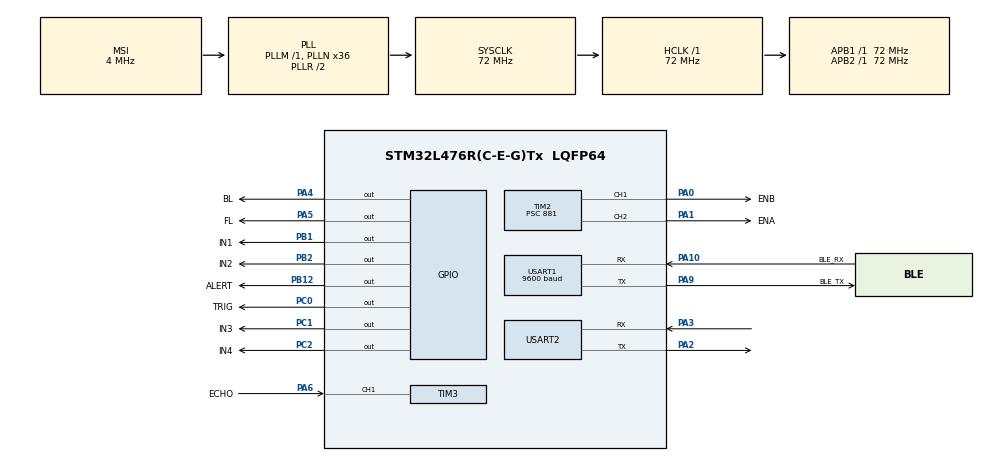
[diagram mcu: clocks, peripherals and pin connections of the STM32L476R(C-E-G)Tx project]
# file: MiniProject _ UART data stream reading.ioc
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Mcu.Family=STM32L4
Mcu.Name=STM32L476R(C-E-G)Tx
Mcu.Package=LQFP64
NVIC.PriorityGroup=NVIC_PRIORITYGROUP_4
NVIC.TIM3_IRQn=true\:0\:0\:false\:false\:true\:true\:true\:true
NVIC.USART1_IRQn=true\:0\:0\:false\:false\:true\:true\:true\:true
NVIC.USART2_IRQn=true\:0\:0\:false\:false\:true\:true\:true\:true
PA0.GPIO_Label=ENB
PA0.Signal=S_TIM2_CH1
PA1.GPIO_Label=ENA
PA1.Signal=S_TIM2_CH2
PA10.GPIO_Label=BLE_RX
PA10.Mode=Asynchronous
PA10.Signal=USART1_RX
PA2.Mode=Asynchronous
PA2.Signal=USART2_TX
PA3.Mode=Asynchronous
PA3.Signal=USART2_RX
PA4.GPIO_Label=BL
PA4.Signal=GPIO_Output
PA5.GPIO_Label=FL
PA5.Signal=GPIO_Output
PA6.GPIO_Label=ECHO
PA6.Signal=S_TIM3_CH1
PA9.GPIO_Label=BLE_TX
PA9.Mode=Asynchronous
PA9.Signal=USART1_TX
PB1.GPIO_Label=IN1
PB1.Signal=GPIO_Output
PB12.GPIO_Label=ALERT
PB12.Signal=GPIO_Output
PB2.GPIO_Label=IN2
PB2.Signal=GPIO_Output
PC0.GPIO_Label=TRIG
PC0.Signal=GPIO_Output
PC1.GPIO_Label=IN3
PC1.Signal=GPIO_Output
PC2.GPIO_Label=IN4
PC2.Signal=GPIO_Output
ProjectManager.HeapSize=0x200
ProjectManager.StackSize=0x400
ProjectManager.TargetToolchain=STM32CubeIDE
RCC.AHBFreq_Value=72000000
RCC.APB1Freq_Value=72000000
RCC.APB1TimFreq_Value=72000000
RCC.APB2Freq_Value=72000000
RCC.APB2TimFreq_Value=72000000
RCC.CortexFreq_Value=72000000
RCC.HCLKFreq_Value=72000000
RCC.HSE_VALUE=8000000
RCC.HSI_VALUE=16000000
RCC.LSE_VALUE=32768
RCC.MSI_VALUE=4000000
RCC.PLLN=36
RCC.SYSCLKFreq_VALUE=72000000
RCC.SYSCLKSource=RCC_SYSCLKSOURCE_PLLCLK
RCC.VCOOutputFreq_Value=144000000
SH.S_TIM2_CH1.0=TIM2_CH1,PWM Generation1 CH1
SH.S_TIM2_CH2.0=TIM2_CH2,PWM Generation2 CH2
SH.S_TIM3_CH1.0=TIM3_CH1,Input_Capture1_from_TI1
TIM2.Channel-PWM\ Generation1\ CH1=TIM_CHANNEL_1
TIM2.Channel-PWM\ Generation2\ CH2=TIM_CHANNEL_2
TIM2.Period=255
TIM2.Prescaler=881 
TIM3.Channel-Input_Capture1_from_TI1=TIM_CHANNEL_1
TIM3.Prescaler=72-1
TIM6.Prescaler=72-1
USART1.BaudRate=9600
USART1.VirtualMode-Asynchronous=VM_ASYNC
USART2.VirtualMode-Asynchronous=VM_ASYNC
VP_TIM6_VS_ClockSourceINT.Mode=Enable_Timer
board=custom

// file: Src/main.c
/* USER CODE BEGIN Header */
/**
  ******************************************************************************
  * @file           : main.c
  * @brief          : Main program body
  ******************************************************************************
  * @attention
  *
  * Copyright (c) 2023 STMicroelectronics.
  * All rights reserved.
  *
  * This software is licensed under terms that can be found in the LICENSE file
  * in the root directory of this software component.
  * If no LICENSE file comes with this software, it is provided AS-IS.
  *
  ******************************************************************************
  */
/* USER CODE END Header */
#include "main.h"

/* USER CODE BEGIN PD */

#define Buffer_len 2 // Received UART message have a maximum length of 3 (when setting servo-motors speed).
#define ARR_value 255 // TIM2 Auto Reload Register set to . (2^16)

#define FL GPIO_PIN_5 // GPIOA_PIN5 Front Light
#define BL GPIO_PIN_4 // GPIOA_PIN4 Back Light

// Right motor
#define RM_GPIO GPIOC
#define enB TIM_CHANNEL_1
#define in3 GPIO_PIN_1
#define in4 GPIO_PIN_2

// Left motor
#define LM_GPIO GPIOB
#define enA TIM_CHANNEL_2
#define in1 GPIO_PIN_1
#define in2 GPIO_PIN_2

#define Turning_Speed1 60
#define Turning_Speed2 100 // Speed difference is set to 40 in order to perform a smooth turn.

#define TRIG_PIN GPIO_PIN_0
#define TRIG_PORT GPIOC
#define ECHO TIM_CHANNEL_1

/* USER CODE END PD */

TIM_HandleTypeDef htim2;
TIM_HandleTypeDef htim3;
TIM_HandleTypeDef htim6;

UART_HandleTypeDef huart1;
UART_HandleTypeDef huart2;

/* USER CODE BEGIN PV */

uint16_t CNT_Ticks = 0;

uint8_t RX_BUFFER[Buffer_len]={0};
int RX_index;
uint16_t x_speed = 0;
uint32_t x_OCC;
uint32_t IC_Val1 = 0;
uint32_t IC_Val2 = 0;
uint32_t Difference = 0;
uint8_t Is_First_Captured = 0;  // is the first value captured ?
float Distance  = 0.0;
char MSG[35] = {0};
/* USER CODE END PV */

void SystemClock_Config(void);
static void MX_GPIO_Init(void);
static void MX_TIM2_Init(void);
static void MX_TIM3_Init(void);
static void MX_USART2_UART_Init(void);
static void MX_USART1_UART_Init(void);
static void MX_TIM6_Init(void);
/* USER CODE BEGIN PFP */

void HAL_UART_RxCpltCallback(UART_HandleTypeDef *); // Callback function: We are reading from UART in Interrupt mode.
void HAL_TIM_IC_CaptureCallback(TIM_HandleTypeDef *htim);

uint32_t MAP(uint32_t au32_IN, uint32_t au32_INmax, uint32_t au32_OUTmax); // This is a modified version from DeepBLue Math Library (I have considered a 0 min for both input and output intervals).
void delay_us(uint16_t delay);

void HCSR04_Read(void);
void Front_Light_Toggle();
void Back_Light_Toggle();
void Turn_Left();
void Turn_Right();
void Stop();
float Range_to_obstacle(uint8_t); // Consider transforming this function on a Alert function (cause with the HCSR04_Read direct reading capabilities it becomes useless).
void ServoA_Speed_Calibration(uint16_t);
void ServoB_Speed_Calibration(uint16_t);
/* USER CODE END PFP */

int main(void)
{

  /* MCU Configuration--------------------------------------------------------*/

  /* Reset of all peripherals, Initializes the Flash interface and the Systick. */
  HAL_Init();

  /* Configure the system clock */
  SystemClock_Config();

  /* Initialize all configured peripherals */
  MX_GPIO_Init();
  MX_TIM2_Init();
  MX_TIM3_Init();
  MX_USART2_UART_Init();
  MX_USART1_UART_Init();
  MX_TIM6_Init();
  /* USER CODE BEGIN 2 */

  HAL_TIM_Base_Start(&htim6);

  //Start the PWM mode on the channel of timer1
  HAL_TIM_PWM_Start(&htim2, enA);

  //Start the PWM mode on the channel of timer2
  HAL_TIM_PWM_Start(&htim2, enB);

  //Start timer 3 in input capture mode
  HAL_TIM_IC_Start_IT(&htim3, ECHO);

  //Setup the trigger for the first reading from the UART.
  HAL_UART_Receive_IT(&huart1, RX_BUFFER, Buffer_len);

  //Initialize Right motors direction to forward
  HAL_GPIO_WritePin(RM_GPIO, in3, GPIO_PIN_SET);
  HAL_GPIO_WritePin(RM_GPIO, in4, GPIO_PIN_RESET);

  //Initialize Left motors direction to forward
  HAL_GPIO_WritePin(LM_GPIO, in1, GPIO_PIN_SET);
  HAL_GPIO_WritePin(LM_GPIO, in2, GPIO_PIN_RESET);

  /* USER CODE END 2 */

  /* Infinite loop */
  while (1)
  {

    /* USER CODE BEGIN 3 */

	HCSR04_Read();

	sprintf(MSG, "%f cm\r\n", Distance);

	HAL_UART_Transmit(&huart2, MSG, sizeof(MSG), 100);

	HAL_Delay(20);

	/*
	switch (RX_BUFFER[0]){

	      case 'M':
	    	  Front_Light_Toggle();
	    	  sprintf(MSG,"Command M: Front_Light_Toggle() \r\n");
	    	  HAL_UART_Transmit(&huart2, MSG, sizeof(MSG), 50);
			  break;

	      case 'N':
	    	  sprintf(MSG,"Command N: Back_Light_Toggle() \r\n");
	    	  HAL_UART_Transmit(&huart2, MSG, sizeof(MSG), 50);
	    	  Back_Light_Toggle();
	    	  break;

	      case 'L':
	    	  Turn_Left();
	    	  break;

	      case 'R':
	    	  Turn_Right();
	    	  break;

	      case 'U':
	    	  Forword();
	    	  break;

	      case 'D':
	    	  Backword();
	    	  break;

	      case 'E':

	    	break;

	      case 'C':

	        break;

	      case 'Z':

	        break;

	      default :
	    	  //Print a message on the LCD to mention no action is specified.
	    	break;
	    }
	*/

  }
  /* USER CODE END 3 */
}

void SystemClock_Config(void)
{
  RCC_OscInitTypeDef RCC_OscInitStruct = {0};
  RCC_ClkInitTypeDef RCC_ClkInitStruct = {0};

  /** Configure the main internal regulator output voltage
  */
  if (HAL_PWREx_ControlVoltageScaling(PWR_REGULATOR_VOLTAGE_SCALE1) != HAL_OK)
  {
    Error_Handler();
  }

  /** Initializes the RCC Oscillators according to the specified parameters
  * in the RCC_OscInitTypeDef structure.
  */
  RCC_OscInitStruct.OscillatorType = RCC_OSCILLATORTYPE_MSI;
  RCC_OscInitStruct.MSIState = RCC_MSI_ON;
  RCC_OscInitStruct.MSICalibrationValue = 0;
  RCC_OscInitStruct.MSIClockRange = RCC_MSIRANGE_6;
  RCC_OscInitStruct.PLL.PLLState = RCC_PLL_ON;
  RCC_OscInitStruct.PLL.PLLSource = RCC_PLLSOURCE_MSI;
  RCC_OscInitStruct.PLL.PLLM = 1;
  RCC_OscInitStruct.PLL.PLLN = 36;
  RCC_OscInitStruct.PLL.PLLP = RCC_PLLP_DIV7;
  RCC_OscInitStruct.PLL.PLLQ = RCC_PLLQ_DIV2;
  RCC_OscInitStruct.PLL.PLLR = RCC_PLLR_DIV2;
  if (HAL_RCC_OscConfig(&RCC_OscInitStruct) != HAL_OK)
  {
    Error_Handler();
  }

  /** Initializes the CPU, AHB and APB buses clocks
  */
  RCC_ClkInitStruct.ClockType = RCC_CLOCKTYPE_HCLK|RCC_CLOCKTYPE_SYSCLK
                              |RCC_CLOCKTYPE_PCLK1|RCC_CLOCKTYPE_PCLK2;
  RCC_ClkInitStruct.SYSCLKSource = RCC_SYSCLKSOURCE_PLLCLK;
  RCC_ClkInitStruct.AHBCLKDivider = RCC_SYSCLK_DIV1;
  RCC_ClkInitStruct.APB1CLKDivider = RCC_HCLK_DIV1;
  RCC_ClkInitStruct.APB2CLKDivider = RCC_HCLK_DIV1;

  if (HAL_RCC_ClockConfig(&RCC_ClkInitStruct, FLASH_LATENCY_4) != HAL_OK)
  {
    Error_Handler();
  }
}

static void MX_TIM2_Init(void)
{

  TIM_MasterConfigTypeDef sMasterConfig = {0};
  TIM_OC_InitTypeDef sConfigOC = {0};

  htim2.Instance = TIM2;
  htim2.Init.Prescaler = 881 ;
  htim2.Init.CounterMode = TIM_COUNTERMODE_UP;
  htim2.Init.Period = 255;
  htim2.Init.ClockDivision = TIM_CLOCKDIVISION_DIV1;
  htim2.Init.AutoReloadPreload = TIM_AUTORELOAD_PRELOAD_DISABLE;
  if (HAL_TIM_PWM_Init(&htim2) != HAL_OK)
  {
    Error_Handler();
  }
  sMasterConfig.MasterOutputTrigger = TIM_TRGO_RESET;
  sMasterConfig.MasterSlaveMode = TIM_MASTERSLAVEMODE_DISABLE;
  if (HAL_TIMEx_MasterConfigSynchronization(&htim2, &sMasterConfig) != HAL_OK)
  {
    Error_Handler();
  }
  sConfigOC.OCMode = TIM_OCMODE_PWM1;
  sConfigOC.Pulse = 0;
  sConfigOC.OCPolarity = TIM_OCPOLARITY_HIGH;
  sConfigOC.OCFastMode = TIM_OCFAST_DISABLE;
  if (HAL_TIM_PWM_ConfigChannel(&htim2, &sConfigOC, TIM_CHANNEL_1) != HAL_OK)
  {
    Error_Handler();
  }
  if (HAL_TIM_PWM_ConfigChannel(&htim2, &sConfigOC, TIM_CHANNEL_2) != HAL_OK)
  {
    Error_Handler();
  }
  HAL_TIM_MspPostInit(&htim2);

}

static void MX_TIM3_Init(void)
{

  TIM_MasterConfigTypeDef sMasterConfig = {0};
  TIM_IC_InitTypeDef sConfigIC = {0};

  htim3.Instance = TIM3;
  htim3.Init.Prescaler = 72-1;
  htim3.Init.CounterMode = TIM_COUNTERMODE_UP;
  htim3.Init.Period = 65535;
  htim3.Init.ClockDivision = TIM_CLOCKDIVISION_DIV1;
  htim3.Init.AutoReloadPreload = TIM_AUTORELOAD_PRELOAD_DISABLE;
  if (HAL_TIM_IC_Init(&htim3) != HAL_OK)
  {
    Error_Handler();
  }
  sMasterConfig.MasterOutputTrigger = TIM_TRGO_RESET;
  sMasterConfig.MasterSlaveMode = TIM_MASTERSLAVEMODE_DISABLE;
  if (HAL_TIMEx_MasterConfigSynchronization(&htim3, &sMasterConfig) != HAL_OK)
  {
    Error_Handler();
  }
  sConfigIC.ICPolarity = TIM_INPUTCHANNELPOLARITY_RISING;
  sConfigIC.ICSelection = TIM_ICSELECTION_DIRECTTI;
  sConfigIC.ICPrescaler = TIM_ICPSC_DIV1;
  sConfigIC.ICFilter = 0;
  if (HAL_TIM_IC_ConfigChannel(&htim3, &sConfigIC, TIM_CHANNEL_1) != HAL_OK)
  {
    Error_Handler();
  }

}

static void MX_TIM6_Init(void)
{

  TIM_MasterConfigTypeDef sMasterConfig = {0};

  htim6.Instance = TIM6;
  htim6.Init.Prescaler = 72-1;
  htim6.Init.CounterMode = TIM_COUNTERMODE_UP;
  htim6.Init.Period = 65535;
  htim6.Init.AutoReloadPreload = TIM_AUTORELOAD_PRELOAD_DISABLE;
  if (HAL_TIM_Base_Init(&htim6) != HAL_OK)
  {
    Error_Handler();
  }
  sMasterConfig.MasterOutputTrigger = TIM_TRGO_RESET;
  sMasterConfig.MasterSlaveMode = TIM_MASTERSLAVEMODE_DISABLE;
  if (HAL_TIMEx_MasterConfigSynchronization(&htim6, &sMasterConfig) != HAL_OK)
  {
    Error_Handler();
  }

}

static void MX_USART1_UART_Init(void)
{

  huart1.Instance = USART1;
  huart1.Init.BaudRate = 9600;
  huart1.Init.WordLength = UART_WORDLENGTH_8B;
  huart1.Init.StopBits = UART_STOPBITS_1;
  huart1.Init.Parity = UART_PARITY_NONE;
  huart1.Init.Mode = UART_MODE_TX_RX;
  huart1.Init.HwFlowCtl = UART_HWCONTROL_NONE;
  huart1.Init.OverSampling = UART_OVERSAMPLING_16;
  huart1.Init.OneBitSampling = UART_ONE_BIT_SAMPLE_DISABLE;
  huart1.AdvancedInit.AdvFeatureInit = UART_ADVFEATURE_NO_INIT;
  if (HAL_UART_Init(&huart1) != HAL_OK)
  {
    Error_Handler();
  }

}

static void MX_USART2_UART_Init(void)
{

  huart2.Instance = USART2;
  huart2.Init.BaudRate = 115200;
  huart2.Init.WordLength = UART_WORDLENGTH_8B;
  huart2.Init.StopBits = UART_STOPBITS_1;
  huart2.Init.Parity = UART_PARITY_NONE;
  huart2.Init.Mode = UART_MODE_TX_RX;
  huart2.Init.HwFlowCtl = UART_HWCONTROL_NONE;
  huart2.Init.OverSampling = UART_OVERSAMPLING_16;
  huart2.Init.OneBitSampling = UART_ONE_BIT_SAMPLE_DISABLE;
  huart2.AdvancedInit.AdvFeatureInit = UART_ADVFEATURE_NO_INIT;
  if (HAL_UART_Init(&huart2) != HAL_OK)
  {
    Error_Handler();
  }

}

static void MX_GPIO_Init(void)
{
  GPIO_InitTypeDef GPIO_InitStruct = {0};

  /* GPIO Ports Clock Enable */
  __HAL_RCC_GPIOC_CLK_ENABLE();
  __HAL_RCC_GPIOA_CLK_ENABLE();
  __HAL_RCC_GPIOB_CLK_ENABLE();

  /*Configure GPIO pin Output Level */
  HAL_GPIO_WritePin(GPIOC, TRIG_Pin|IN3_Pin|IN4_Pin, GPIO_PIN_RESET);

  /*Configure GPIO pin Output Level */
  HAL_GPIO_WritePin(GPIOA, BL_Pin|FL_Pin, GPIO_PIN_RESET);

  /*Configure GPIO pin Output Level */
  HAL_GPIO_WritePin(GPIOB, IN1_Pin|IN2_Pin|ALERT_Pin, GPIO_PIN_RESET);

  /*Configure GPIO pins : TRIG_Pin IN3_Pin IN4_Pin */
  GPIO_InitStruct.Pin = TRIG_Pin|IN3_Pin|IN4_Pin;
  GPIO_InitStruct.Mode = GPIO_MODE_OUTPUT_PP;
  GPIO_InitStruct.Pull = GPIO_NOPULL;
  GPIO_InitStruct.Speed = GPIO_SPEED_FREQ_LOW;
  HAL_GPIO_Init(GPIOC, &GPIO_InitStruct);

  /*Configure GPIO pins : BL_Pin FL_Pin */
  GPIO_InitStruct.Pin = BL_Pin|FL_Pin;
  GPIO_InitStruct.Mode = GPIO_MODE_OUTPUT_PP;
  GPIO_InitStruct.Pull = GPIO_NOPULL;
  GPIO_InitStruct.Speed = GPIO_SPEED_FREQ_LOW;
  HAL_GPIO_Init(GPIOA, &GPIO_InitStruct);

  /*Configure GPIO pins : IN1_Pin IN2_Pin ALERT_Pin */
  GPIO_InitStruct.Pin = IN1_Pin|IN2_Pin|ALERT_Pin;
  GPIO_InitStruct.Mode = GPIO_MODE_OUTPUT_PP;
  GPIO_InitStruct.Pull = GPIO_NOPULL;
  GPIO_InitStruct.Speed = GPIO_SPEED_FREQ_LOW;
  HAL_GPIO_Init(GPIOB, &GPIO_InitStruct);

}

/* USER CODE BEGIN 4 */

void HAL_UART_RxCpltCallback(UART_HandleTypeDef *huart) {

	// Check the Cplt callback function call belongs to the UART1 instance.
    if (huart == &huart1) {
    	HAL_UART_Receive_IT(&huart1, RX_BUFFER, Buffer_len);
    }
}

void Front_Light_Toggle(){
	HAL_GPIO_TogglePin(GPIOA,FL);
}

void Back_Light_Toggle(){
	HAL_GPIO_TogglePin(GPIOA,BL);
}

void Stop(){
	  //Stop Right motors direction to forward
	  HAL_GPIO_WritePin(RM_GPIO, in3, GPIO_PIN_RESET);
	  HAL_GPIO_WritePin(RM_GPIO, in4, GPIO_PIN_RESET);

	  //Stop Left motors direction to forward
	  HAL_GPIO_WritePin(LM_GPIO, in1, GPIO_PIN_RESET);
	  HAL_GPIO_WritePin(LM_GPIO, in2, GPIO_PIN_RESET);
}

// Code to calibrate the speed of Servo A based on the received speed parameter
void ServoA_Speed_Calibration(uint16_t speed) {

	uint32_t OCC_Value = 0;
    // Use the received speed value to set the PWM duty cycle or pulse width
    // on the pin controlling Servo A (PB1 in this example)
    // Note: You may need to use a PWM library or HAL functions for precise control

	OCC_Value = MAP((uint32_t)speed, ARR_value, 180);
	x_OCC = OCC_Value;
	__HAL_TIM_SET_COMPARE(&htim2,TIM_CHANNEL_1, OCC_Value); // Channel 1 to control MA.
}

// Similar to ServoA_Speed_Calibration, adjust the logic for Servo B (PB2 in this example)
void ServoB_Speed_Calibration(uint16_t speed) {

	uint32_t OCC_Value = 0;
    // Use the received speed value to set the PWM duty cycle or pulse width
    // on the pin controlling Servo B
	// MAp the speed with the available CCR1 range. (This step is crucial to cover the output capture/compare full range).

	OCC_Value = MAP((uint32_t)speed, ARR_value, 180);
	x_OCC = OCC_Value;
	__HAL_TIM_SET_COMPARE(&htim2,TIM_CHANNEL_2, OCC_Value); // Channel 1 to control MA.
}

// Servo-Motor A is attached to the left side.
// Servo-Motor B is attached to the right side.

//Turning left: SPEED_SERVO_B > SPEED_SERVO_A
void Turn_Left(){
	// Set ServoA to Turning_Speed1 and ServoB to Turning_Speed2
	ServoA_Speed_Calibration(Turning_Speed1);
	ServoB_Speed_Calibration(Turning_Speed2);
}

//Turning left: SPEED_SERVO_A > SPEED_SERVO_B
void Turn_Right(){
	// Set ServoB to Turning_Speed1 and ServoA to Turning_Speed2
	ServoB_Speed_Calibration(Turning_Speed1);
	ServoA_Speed_Calibration(Turning_Speed2);
}

void Forword(){
	// Set ServoB to Turning_Speed1 and ServoA to Turning_Speed2
	ServoB_Speed_Calibration(Turning_Speed1);
	ServoA_Speed_Calibration(Turning_Speed2);
}

void Backword(){
	// Set ServoB to Turning_Speed1 and ServoA to Turning_Speed2
	ServoB_Speed_Calibration(Turning_Speed1);
	ServoA_Speed_Calibration(Turning_Speed2);
}

//MAP function to Scale the giving results in order to match CCR Full range.
uint32_t MAP(uint32_t au32_IN, uint32_t au32_INmax, uint32_t au32_OUTmax)
{
    return au32_IN * (au32_OUTmax/au32_INmax);
}

void HAL_TIM_IC_CaptureCallback(TIM_HandleTypeDef *htim)
{
	if (htim->Channel == HAL_TIM_ACTIVE_CHANNEL_1)  // if the interrupt source is channel1
	{
		if (Is_First_Captured==0) // if the first value is not captured
		{
			IC_Val1 = HAL_TIM_ReadCapturedValue(htim, TIM_CHANNEL_1); // read the first value
			Is_First_Captured = 1;  // set the first captured as true
			// Now change the polarity to falling edge
			__HAL_TIM_SET_CAPTUREPOLARITY(htim, TIM_CHANNEL_1, TIM_INPUTCHANNELPOLARITY_FALLING);
		}

		else if (Is_First_Captured==1)   // if the first is already captured
		{
			IC_Val2 = HAL_TIM_ReadCapturedValue(htim, TIM_CHANNEL_1);  // read second value
			__HAL_TIM_SET_COUNTER(htim, 0);  // reset the counter

			if (IC_Val2 > IC_Val1)
			{
				Difference = IC_Val2-IC_Val1;
			}

			else if (IC_Val1 > IC_Val2)
			{
				Difference = (0xffff - IC_Val1) + IC_Val2;
			}

			Distance = Difference * .034/2;
			Is_First_Captured = 0; // set it back to false

			// set polarity to rising edge
			__HAL_TIM_SET_CAPTUREPOLARITY(htim, TIM_CHANNEL_1, TIM_INPUTCHANNELPOLARITY_RISING);
			// To avoid reading next echos (this routine will be executed ones we need an update): refer to HCSR04_Read()
			__HAL_TIM_DISABLE_IT(&htim3, TIM_IT_CC1);
		}
	}
}

/*the function responsible of reading HCSR04 (this function will set the HCSR04 trig pin high for 3 ms):
result will be stored in "distance" global variable handled within the IC callback function
*/
void HCSR04_Read(void)
{
	HAL_GPIO_WritePin(TRIG_PORT, TRIG_PIN, GPIO_PIN_SET);  // pull the TRIG pin HIGH
	delay_us(5);  // wait for 3s us (minimum trig pulse is 2us)
	HAL_GPIO_WritePin(TRIG_PORT, TRIG_PIN, GPIO_PIN_RESET);  // pull the TRIG pin low

	__HAL_TIM_ENABLE_IT(&htim3, TIM_IT_CC1);
}

/*

void SysTick_CallBack(void)
{
    SysTicks++;
    if(SysTicks == 20) // Each 15msec: we are using the HCSR04 in non blocking mode
    {
    	HCSR04_Read();
    	SysTicks = 0;
    }
}

*/

void delay_us(uint16_t delay){

	TIM6->CNT = 0;
	while (TIM6->CNT < delay);
}

/* USER CODE END 4 */

void Error_Handler(void)
{
  __disable_irq();
  while (1)
  {
  }
}
